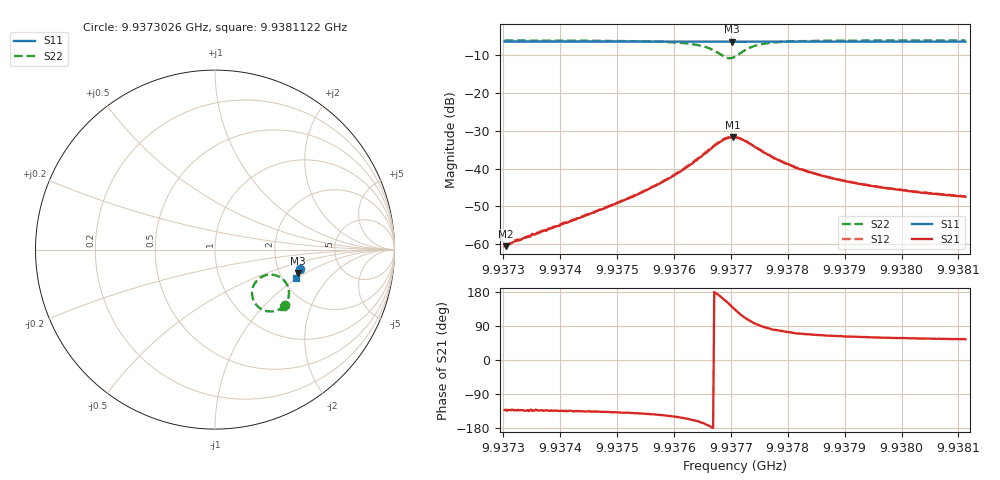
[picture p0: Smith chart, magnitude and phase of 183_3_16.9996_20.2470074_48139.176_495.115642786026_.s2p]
#  HZ  S  RI  R  50.00
! Rohde & Schwarz Vector Network Analyzer
! Rohde-Schwarz,ZNB20-2Port,1311601062101988,3.16
! Created: UTC 3/20/2024, 11:00:15 PM
! freq[Hz]  re:S11  im:S11  re:S21  im:S21  re:S12  im:S12  re:S22  im:S22
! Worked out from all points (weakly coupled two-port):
!   401 points, 9.9373026 GHz to 9.9381122 GHz, reference 50 ohm
!   highest |S21| = -31.66 dB at 9.9377033 GHz (marker M1); lowest = -60.6 dB at 9.9373046 GHz (marker M2)
!   lowest |S11| = -6.4 dB at 9.9377013 GHz (marker M3), VSWR 2.84, Z = 125 - j42.6 ohm
!   |S11| at or under -10 dB: nowhere
!   |S22| runs from -10.8 to -6.0 dB; largest |S21 - S12| = 0.0012
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9.93730256e9  0.4716 -0.1065  -0.000626 -0.000696  -0.000649 -0.00069  0.3886 -0.3106
9.93730459e9  0.4715 -0.1067  -0.000616 -0.000704  -0.000648 -0.0007  0.3885 -0.3109
9.93732078e9  0.4712 -0.1078  -0.000725 -0.000803  -0.000775 -0.000822  0.387 -0.3123
9.93743817e9  0.4687 -0.1159  -0.00164 -0.00162  -0.00166 -0.00162  0.3734 -0.3235
9.93752723e9  0.4667 -0.1218  -0.0032 -0.00272  -0.00336 -0.00272  0.3547 -0.3346
9.93757378e9  0.4655 -0.125  -0.00512 -0.00359  -0.00529 -0.00361  0.3363 -0.3415
9.93761426e9  0.4641 -0.1279  -0.00835 -0.00438  -0.00861 -0.00433  0.3071 -0.3451
9.93765474e9  0.4624 -0.1306  -0.0155 -0.00312  -0.0161 -0.0027  0.2493 -0.3259
9.93766891e9  0.4616 -0.1312  -0.0194 -0.000332  -0.0196 0.000376  0.2227 -0.2977
9.93768307e9  0.4609 -0.1314  -0.0223 0.0055  -0.0228 0.00641  0.2063 -0.2466
9.93769319e9  0.4605 -0.1314  -0.0224 0.0114  -0.0225 0.0123  0.2153 -0.1999
9.93770129e9  0.4604 -0.1314  -0.0203 0.0159  -0.0201 0.0171  0.2394 -0.1666
9.93770331e9  0.4604 -0.1314  -0.0197 0.0172  -0.0193 0.0182  0.2474 -0.1599
9.93770736e9  0.4605 -0.1315  -0.0178 0.0189  -0.0172 0.0199  0.265 -0.1494
9.93771748e9  0.4609 -0.1317  -0.0121 0.0215  -0.0116 0.0219  0.3113 -0.1392
9.93773165e9  0.4613 -0.1326  -0.00561 0.021  -0.00501 0.0212  0.3624 -0.154
9.93775391e9  0.4617 -0.1342  0.000275 0.0172  0.00075 0.0171  0.4005 -0.1943
9.93779237e9  0.4611 -0.1374  0.00298 0.0118  0.00326 0.0117  0.4125 -0.2427
9.93784297e9  0.4601 -0.1411  0.00341 0.00805  0.00359 0.00806  0.4081 -0.2739
9.93790167e9  0.4588 -0.145  0.0032 0.006  0.00333 0.006  0.4001 -0.2925
9.93797858e9  0.4568 -0.1502  0.00283 0.00462  0.00292 0.00463  0.3919 -0.3067
9.93811216e9  0.4532 -0.1589  0.00243 0.00345  0.00252 0.00345  0.3805 -0.3216
